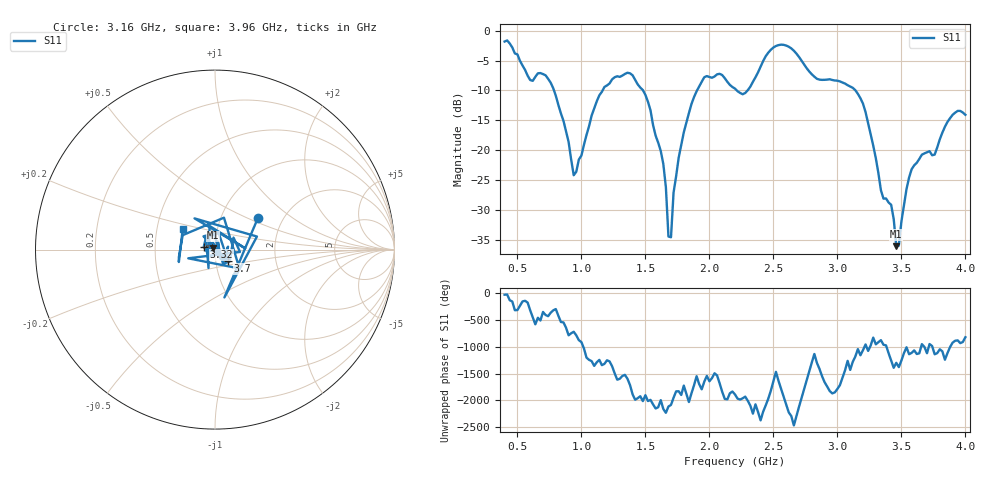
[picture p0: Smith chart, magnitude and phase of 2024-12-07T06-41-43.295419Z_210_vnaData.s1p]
!Created with skrf (http://scikit-rf.org).
# Hz S RI R 50.0
!freq ReS11 ImS11
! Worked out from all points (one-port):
!   181 points, 400 MHz to 4 GHz, reference 50 ohm
!   lowest |S11| = -36.1 dB at 3.46 GHz (marker M1), VSWR 1.03, Z = 48.8 + j0.972 ohm
!   |S11| at or under -10 dB: 785.7 MHz to 1.166 GHz (379.9 MHz wide, 38.9 % of centre); 1.481 GHz to 1.904 GHz (422.1 MHz wide, 24.9 % of centre); 3.141 GHz to end of sweep (the widest 3 of 4)
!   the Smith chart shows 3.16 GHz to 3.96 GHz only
!   S11 on the Smith chart (normalised r, x): 3.16 GHz: 1.49, +0.57; 3.32 GHz: 0.88, +0.03; 3.7 GHz: 1.15, -0.15; 3.96 GHz: 0.68, +0.16
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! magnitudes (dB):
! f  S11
! 400 MHz  -1.8
! 600 MHz  -8.3
! 720 MHz  -7.5
! 860 MHz  -15.1
! 940 MHz  -24.2
! 1.14 GHz  -10.8
! 1.3 GHz  -7.7
! 1.52 GHz  -11.9
! 1.64 GHz  -22.3
! 1.68 GHz  -34.5
! 1.7 GHz  -34.6
! 1.72 GHz  -27.1
! 1.76 GHz  -21.3
! 1.86 GHz  -12.3
! 1.96 GHz  -7.8
! 2.2 GHz  -9.7
! 2.28 GHz  -10.4
! 2.5 GHz  -2.8
! 2.66 GHz  -3.4
! 3.1 GHz  -9.3
! 3.16 GHz  -10.6
! 3.32 GHz  -23.8
! 3.42 GHz  -29.2
! 3.46 GHz  -36.1
! 3.56 GHz  -24.6
! 3.7 GHz  -20.4
! 3.96 GHz  -13.4
! 4 GHz  -14.1
